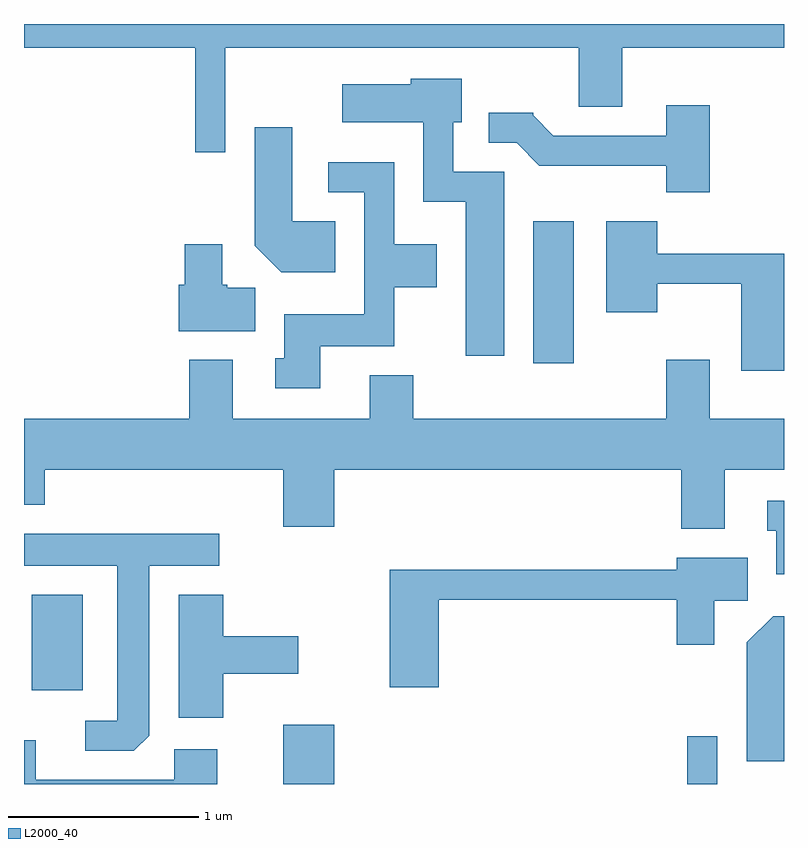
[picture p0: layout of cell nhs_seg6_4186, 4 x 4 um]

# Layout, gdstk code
import gdstk
lib = gdstk.Library(unit=1e-6, precision=1e-09)
def R(c, l, rs):  # rectangles x0, y0, x1, y1
    for r in rs: c.add(gdstk.rectangle(r[:2], r[2:], *l))
def P(c, l, *ps):  # polygons
    for p in ps: c.add(gdstk.Polygon(p, *l))
L2000_40 = (2000, 40)

nhs_seg6_4186 = lib.new_cell('nhs_seg6_4186')
R(nhs_seg6_4186, L2000_40, [(314.976,1546.162,315.244,1546.474), (317.101,1546.162,317.259,1546.413), (313.651,1546.656,313.919,1547.159), (316.291,1548.376,316.504,1549.124)])
P(nhs_seg6_4186, L2000_40, [(314.669,1550.036),(316.531,1550.036),(316.531,1549.726),(316.759,1549.726),(316.759,1550.036),(317.611,1550.036),(317.611,1550.162),(313.611,1550.162),(313.611,1550.036),(314.511,1550.036),(314.511,1549.488),(314.669,1549.488)],
  [(316.139,1549.384),(315.869,1549.384),(315.869,1549.646),(315.914,1549.646),(315.914,1549.874),(315.646,1549.874),(315.646,1549.844),(315.286,1549.844),(315.286,1549.646),(315.711,1549.646),(315.711,1549.226),(315.936,1549.226),(315.936,1548.416),(316.139,1548.416)],
  [(317.219,1549.734),(316.991,1549.734),(316.991,1549.574),(316.397,1549.574),(316.29,1549.681),(316.29,1549.694),(316.058,1549.694),(316.058,1549.536),(316.204,1549.536),(316.324,1549.416),(316.991,1549.416),(316.991,1549.276),(317.219,1549.276)],
  [(315.249,1549.124),(315.024,1549.124),(315.024,1549.619),(314.826,1549.619),(314.826,1548.994),(314.964,1548.856),(315.249,1548.856)],
  [(315.169,1548.466),(315.559,1548.466),(315.559,1548.776),(315.784,1548.776),(315.784,1549.004),(315.559,1549.004),(315.559,1549.434),(315.213,1549.434),(315.213,1549.276),(315.401,1549.276),(315.401,1548.634),(314.981,1548.634),(314.981,1548.404),(314.933,1548.404),(314.933,1548.246),(315.169,1548.246)],
  [(317.611,1548.954),(316.944,1548.954),(316.944,1549.124),(316.676,1549.124),(316.676,1548.646),(316.944,1548.646),(316.944,1548.796),(317.386,1548.796),(317.386,1548.336),(317.611,1548.336)],
  [(314.829,1548.774),(314.68,1548.774),(314.68,1548.789),(314.654,1548.789),(314.654,1549.004),(314.456,1549.004),(314.456,1548.789),(314.426,1548.789),(314.426,1548.546),(314.829,1548.546)],
  [(316.991,1548.394),(316.991,1548.084),(315.659,1548.084),(315.659,1548.314),(315.431,1548.314),(315.431,1548.084),(314.709,1548.084),(314.709,1548.394),(314.481,1548.394),(314.481,1548.084),(313.611,1548.084),(313.611,1547.631),(313.719,1547.631),(313.719,1547.816),(314.976,1547.816),(314.976,1547.516),(315.244,1547.516),(315.244,1547.816),(317.071,1547.816),(317.071,1547.506),(317.299,1547.506),(317.299,1547.816),(317.611,1547.816),(317.611,1548.084),(317.219,1548.084),(317.219,1548.394)],
  [(317.611,1547.654),(317.523,1547.654),(317.523,1547.496),(317.571,1547.496),(317.571,1547.266),(317.611,1547.266)],
  [(314.269,1546.417),(314.269,1547.311),(314.638,1547.311),(314.638,1547.479),(313.611,1547.479),(313.611,1547.311),(314.101,1547.311),(314.101,1546.494),(313.933,1546.494),(313.933,1546.336),(314.189,1546.336)],
  [(315.794,1547.131),(317.046,1547.131),(317.046,1546.896),(317.244,1546.896),(317.244,1547.126),(317.419,1547.126),(317.419,1547.354),(317.046,1547.354),(317.046,1547.289),(315.536,1547.289),(315.536,1546.671),(315.794,1546.671)],
  [(314.659,1546.741),(315.054,1546.741),(315.054,1546.939),(314.659,1546.939),(314.659,1547.159),(314.426,1547.159),(314.426,1546.511),(314.659,1546.511)],
  [(317.611,1547.044),(317.554,1547.044),(317.416,1546.907),(317.416,1546.281),(317.611,1546.281)],
  [(314.629,1546.344),(314.401,1546.344),(314.401,1546.184),(313.674,1546.184),(313.674,1546.393),(313.611,1546.393),(313.611,1546.162),(314.629,1546.162)])

lib.write_gds('nhs_seg6_4186.gds')
